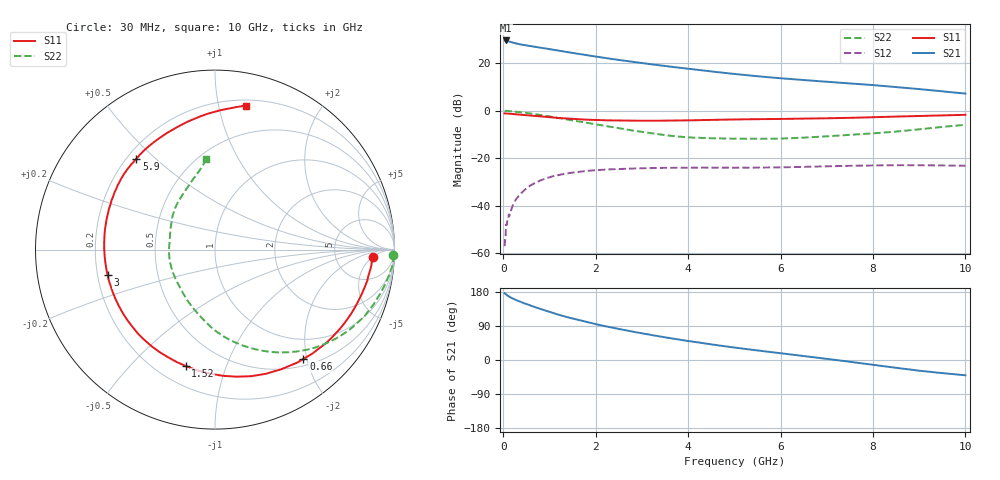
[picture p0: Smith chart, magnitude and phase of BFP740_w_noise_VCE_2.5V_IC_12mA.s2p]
! Infineon Technologies  Discrete & RF Semiconductors
! BFP740
! VCE =  2.5 V,  IC =  12 mA
! Common Emitter S-Parameters:  Jan 2016
# GHz  S  MA  R  50
!  f  S11  S21  S12  S22
! GHz  MAG  ANG  MAG  ANG  MAG  ANG  MAG  ANG
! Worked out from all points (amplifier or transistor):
!   229 points, 30 MHz to 10 GHz, reference 50 ohm
!   highest |S21| = 29.6 dB at 50 MHz (marker M1)
!   |S21| within 3 dB of that: start of sweep to 802.1 MHz
!   unconditionally stable (mu >= 1): 6.889 GHz to end of sweep
!   at 280 MHz: K = 0.18, MSG = 32.8 dB, |S12| = -37.3 dB
!   at 1.78 GHz: K = 0.35, MSG = 24.5 dB, |S12| = -25.4 dB
!   at 10 GHz: K = 1.06, MAG = 13.7 dB, |S12| = -23.2 dB
!   lowest NFmin = 0.54 dB at 450 MHz
!   S11 on the Smith chart (normalised r, x): 30 MHz: 14, -5; 660 MHz: 0.62, -1.94; 1.52 GHz: 0.31, -0.73; 3 GHz: 0.24, -0.11; 5.9 GHz: 0.24, +0.44; 10 GHz: 0.25, +1.21
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0.03  0.8789 -2.6  30.23 176.1  0.0014 65.6  0.9949 -1.7
0.05  0.8758 -4.5  30.28 174.3  0.002 70.0  0.9927 -3.1
0.08  0.8732 -7.0  29.68 171.2  0.004 93.9  0.9917 -4.8
0.13  0.8665 -11.3  28.65 167.0  0.006 83.3  0.9827 -7.8
0.195  0.8547 -16.6  27.49 162.7  0.0095 79.5  0.9683 -11.2
0.26  0.8447 -21.7  26.46 159.1  0.0128 76.8  0.9549 -14.5
0.45  0.8168 -36.0  24.31 149.9  0.021 70.1  0.9132 -23.7
0.66  0.7833 -51.0  22.46 140.8  0.0291 62.5  0.8571 -33.1
0.9  0.7475 -67.8  20.72 130.7  0.0371 53.8  0.7886 -43.3
1.1  0.7181 -80.4  19.18 123.0  0.0422 47.7  0.7297 -51.0
1.52  0.6687 -104.2  16.39 108.8  0.05 37.4  0.6206 -65.1
1.7  0.6545 -113.7  15.4 103.2  0.0524 33.6  0.5776 -70.7
2.28  0.6272 -140.1  12.63 87.2  0.058 23.6  0.4647 -87.6
2.7  0.6179 -156.3  11.06 77.2  0.06 18.0  0.397 -99.1
3  0.6152 -166.7  10.11 70.5  0.0613 14.7  0.3569 -108.0
3.4  0.617 -179.7  9.021 62.0  0.0624 10.5  0.3159 -120.7
4.1  0.6295 161.2  7.466 48.3  0.0632 4.6  0.2718 -144.5
5.1  0.6566 141.6  5.829 31.3  0.0632 -0.8  0.2578 -173.0
5.9  0.67 130.8  4.926 19.4  0.064 -3.4  0.2576 168.9
6.8  0.6893 119.3  4.218 6.1  0.0668 -7.1  0.2809 150.6
8.4  0.7481 95.9  3.225 -19.1  0.071 -16.1  0.3571 120.0
10  0.8207 77.9  2.3 -40.3  0.0694 -23.9  0.5049 95.5
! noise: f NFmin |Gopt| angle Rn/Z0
0.45  0.54  0.16  4  0.16
0.9  0.55  0.16  11  0.16
1.5  0.57  0.15  22  0.15
1.9  0.6  0.15  39  0.15
2.4  0.63  0.15  46  0.14
3.5  0.73  0.13  57  0.13
5.5  0.9  0.16  211  0.12
10  1.33  0.5  -72  0.16
